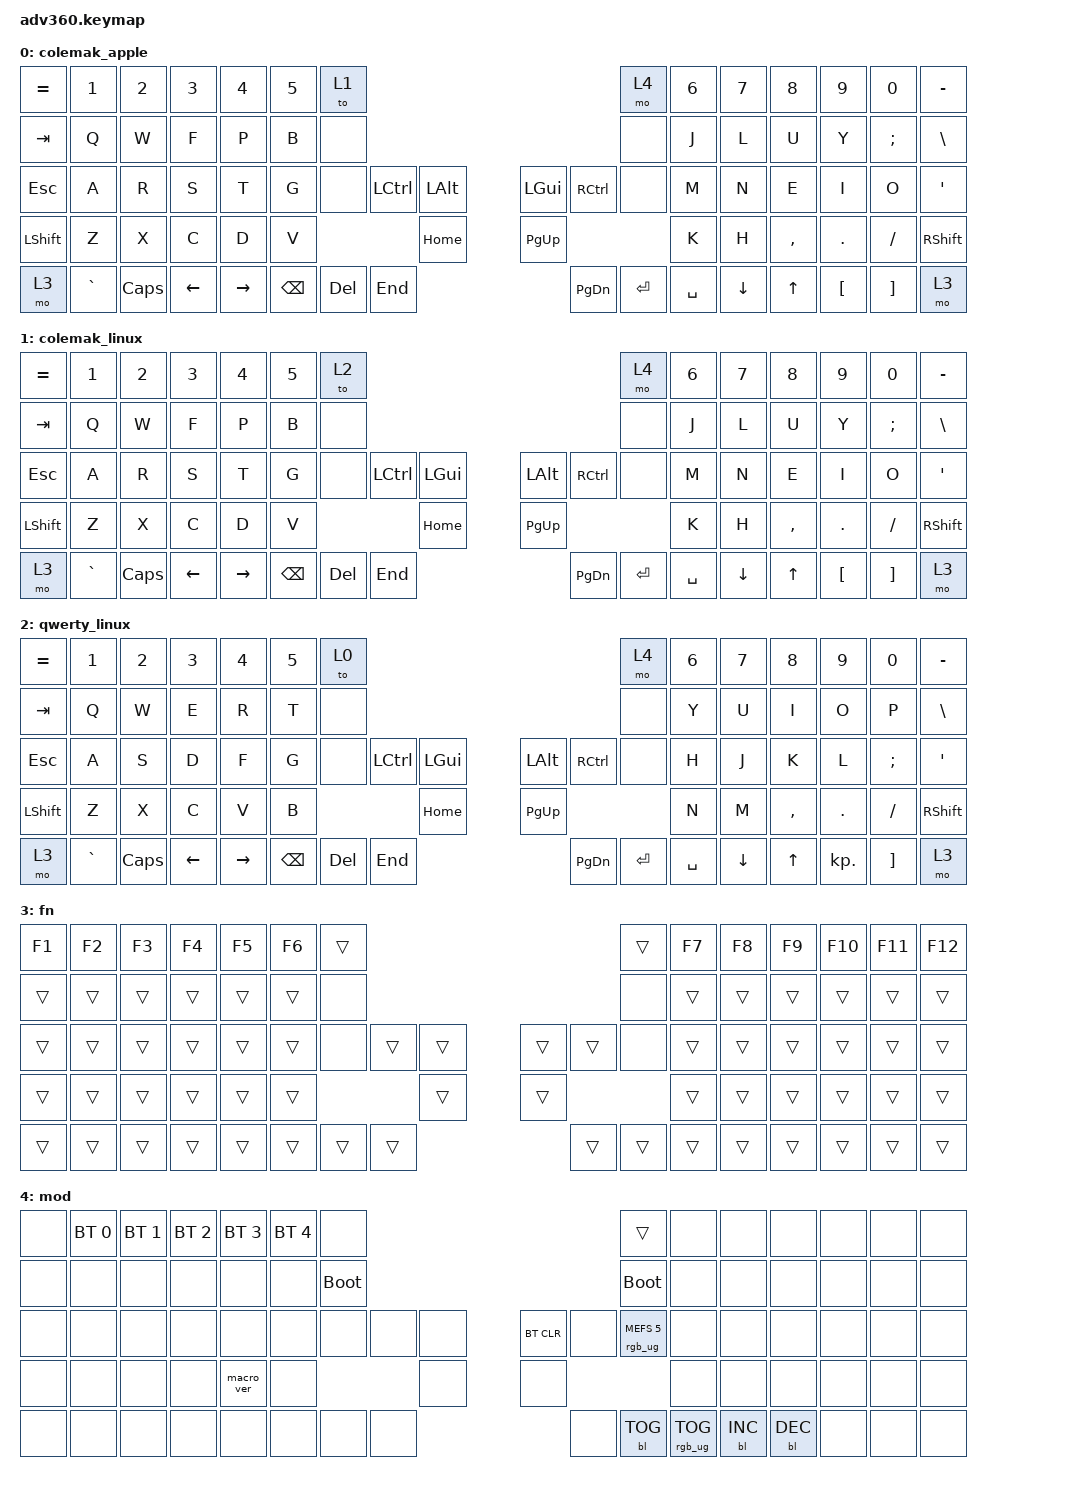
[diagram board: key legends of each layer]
#include <behaviors.dtsi>
#include <dt-bindings/zmk/keys.h>
#include <dt-bindings/zmk/bt.h>
#include <dt-bindings/zmk/rgb.h>
#include <dt-bindings/zmk/backlight.h>

/ {
    behaviors {
      #include "macros.dtsi"
      #include "version.dtsi"
      #ifndef VERSION_MACRO
      macro_ver: macro_ver {
        compatible = "zmk,behavior-macro";
        label = "macro_version";
        #binding-cells = <0>;
        bindings = <&kp RET>;
      };
      #endif

      hm: homerow_mods {
          compatible = "zmk,behavior-hold-tap";
          label = "HOMEROW_MODS";
          #binding-cells = <2>;
          tapping-term-ms = <200>;
          quick_tap_ms = <175>;
          flavor = "tap-preferred";
          bindings = <&kp>, <&kp>;
      };
    };

  keymap {
    compatible = "zmk,keymap";

    colemak_apple {
      bindings = <
        &kp EQUAL &kp N1    &kp N2   &kp N3   &kp N4     &kp N5 &to 1                                                                        &mo 4 &kp N6 &kp N7   &kp N8    &kp N9   &kp N0   &kp MINUS
        &kp TAB   &kp Q     &kp W    &kp F    &kp P      &kp B  &none                                                                        &none &kp J  &kp L    &kp U     &kp Y    &kp SEMI &kp BSLH
        &kp ESC   &kp A     &kp R    &kp S    &kp T      &kp G  &none           &kp LCTRL &kp LALT             &kp LGUI  &kp RCTRL           &none &kp M  &kp N    &kp E     &kp I    &kp O    &kp SQT
        &kp LSHFT &kp Z     &kp X    &kp C    &kp D      &kp V                            &kp HOME             &kp PG_UP                           &kp K  &kp H    &kp COMMA &kp DOT  &kp FSLH &kp RSHFT
        &mo 3     &kp GRAVE &kp CAPS &kp LEFT &kp RIGHT                &kp BSPC &kp DEL   &kp END              &kp PG_DN &kp ENTER &kp SPACE              &kp DOWN &kp UP    &kp LBKT &kp RBKT &mo 3
      >;
    };
    colemak_linux {
      bindings = <
        &kp EQUAL &kp N1    &kp N2   &kp N3   &kp N4     &kp N5 &to 2                                                                        &mo 4 &kp N6 &kp N7  &kp N8    &kp N9   &kp N0   &kp MINUS
        &kp TAB   &kp Q     &kp W    &kp F    &kp P      &kp B  &none                                                                        &none &kp J  &kp L   &kp U     &kp Y    &kp SEMI &kp BSLH
        &kp ESC   &kp A     &kp R    &kp S    &kp T      &kp G  &none           &kp LCTRL &kp LGUI             &kp LALT  &kp RCTRL           &none &kp M  &kp N   &kp E     &kp I    &kp O    &kp SQT
        &kp LSHFT &kp Z     &kp X    &kp C    &kp D      &kp V                            &kp HOME             &kp PG_UP                           &kp K  &kp H   &kp COMMA &kp DOT  &kp FSLH &kp RSHFT
        &mo 3     &kp GRAVE &kp CAPS &kp LEFT &kp RIGHT                &kp BSPC &kp DEL   &kp END              &kp PG_DN &kp ENTER &kp SPACE              &kp DOWN &kp UP   &kp LBKT &kp RBKT &mo 3
      >;
    };
    qwerty_linux {
      bindings = <
        &kp EQUAL &kp N1    &kp N2   &kp N3   &kp N4     &kp N5 &to 0                                                                        &mo 4 &kp N6 &kp N7   &kp N8    &kp N9     &kp N0   &kp MINUS
        &kp TAB   &kp Q     &kp W    &kp E    &kp R      &kp T  &none                                                                        &none &kp Y  &kp U    &kp I     &kp O      &kp P    &kp BSLH
        &kp ESC   &kp A     &kp S    &kp D    &kp F      &kp G  &none           &kp LCTRL &kp LGUI             &kp LALT  &kp RCTRL           &none &kp H  &kp J    &kp K     &kp L      &kp SEMI &kp SQT
        &kp LSHFT &kp Z     &kp X    &kp C    &kp V      &kp B                            &kp HOME             &kp PG_UP                           &kp N  &kp M    &kp COMMA &kp DOT    &kp FSLH &kp RSHFT
        &mo 3     &kp GRAVE &kp CAPS &kp LEFT &kp RIGHT                &kp BSPC &kp DEL   &kp END              &kp PG_DN &kp ENTER &kp SPACE              &kp DOWN &kp UP    &kp KP_DOT &kp RBKT &mo 3
      >;
    };
    fn {
      bindings = <
        &kp F1 &kp F2 &kp F3 &kp F4 &kp F5 &kp F6  &trans                                           &trans &kp F7 &kp F8 &kp F9 &kp F10 &kp F11 &kp F12
        &trans &trans &trans &trans &trans &trans  &none                                            &none  &trans &trans &trans &trans  &trans  &trans
        &trans &trans &trans &trans &trans &trans  &none         &trans &trans &trans &trans        &none  &trans &trans &trans &trans  &trans  &trans
        &trans &trans &trans &trans &trans &trans                       &trans &trans                      &trans &trans &trans &trans  &trans  &trans
        &trans &trans &trans &trans &trans                &trans &trans &trans &trans &trans &trans              &trans &trans &trans  &trans  &trans
      >;
    };
    mod {
      bindings = <
        &none &bt BT_SEL 0 &bt BT_SEL 1 &bt BT_SEL 2 &bt BT_SEL 3 &bt BT_SEL 4 &none                                                                     &trans                 &none        &none        &none        &none &none &none
        &none &none        &none        &none        &none        &none        &bootloader                                                               &bootloader            &none        &none        &none        &none &none &none
        &none &none        &none        &none        &none        &none        &none                   &none &none &bt BT_CLR &none                      &rgb_ug RGB_MEFS_CMD 5 &none        &none        &none        &none &none &none
        &none &none        &none        &none        &macro_ver   &none                                      &none &none                                                        &none        &none        &none        &none &none &none
        &none &none        &none        &none        &none                                       &none &none &none &none      &bl BL_TOG &rgb_ug RGB_TOG                                     &bl BL_INC   &bl BL_DEC   &none &none &none
      >;
    };
  };
};
